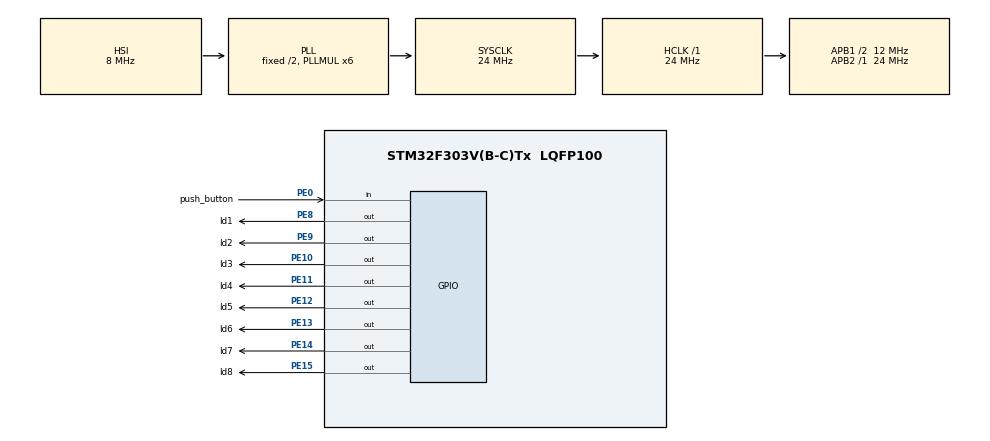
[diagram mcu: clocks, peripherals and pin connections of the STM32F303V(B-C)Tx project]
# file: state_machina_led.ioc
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Mcu.Family=STM32F3
Mcu.Name=STM32F303V(B-C)Tx
Mcu.Package=LQFP100
NVIC.PriorityGroup=NVIC_PRIORITYGROUP_0
NVIC.RCC_IRQn=true\:0\:0\:false\:false\:true\:true\:false\:true
NVIC.TIM2_IRQn=true\:0\:0\:false\:false\:true\:true\:true\:true
PA13.Mode=Serial_Wire
PA13.Signal=SYS_JTMS-SWDIO
PA14.Mode=Serial_Wire
PA14.Signal=SYS_JTCK-SWCLK
PE0.GPIO_Label=push_button
PE0.Signal=GPIO_Input
PE10.GPIO_Label=ld3
PE10.Signal=GPIO_Output
PE11.GPIO_Label=ld4
PE11.Signal=GPIO_Output
PE12.GPIO_Label=ld5
PE12.Signal=GPIO_Output
PE13.GPIO_Label=ld6
PE13.Signal=GPIO_Output
PE14.GPIO_Label=ld7
PE14.Signal=GPIO_Output
PE15.GPIO_Label=ld8
PE15.Signal=GPIO_Output
PE8.GPIO_Label=ld1
PE8.Signal=GPIO_Output
PE9.GPIO_Label=ld2
PE9.Signal=GPIO_Output
PF0-OSC_IN.Mode=HSE-External-Oscillator
PF0-OSC_IN.Signal=RCC_OSC_IN
PF1-OSC_OUT.Mode=HSE-External-Oscillator
PF1-OSC_OUT.Signal=RCC_OSC_OUT
ProjectManager.HeapSize=0x200
ProjectManager.StackSize=0x400
ProjectManager.TargetToolchain=STM32CubeIDE
RCC.AHBFreq_Value=24000000
RCC.APB1CLKDivider=RCC_HCLK_DIV2
RCC.APB1Freq_Value=12000000
RCC.APB1TimFreq_Value=24000000
RCC.APB2Freq_Value=24000000
RCC.APB2TimFreq_Value=24000000
RCC.CortexFreq_Value=24000000
RCC.HCLKFreq_Value=24000000
RCC.HSE_VALUE=8000000
RCC.HSI_VALUE=8000000
RCC.LSE_VALUE=32768
RCC.PLLMUL=RCC_PLL_MUL6
RCC.SYSCLKFreq_VALUE=24000000
RCC.SYSCLKSourceVirtual=RCC_SYSCLKSOURCE_PLLCLK
RCC.USBFreq_Value=24000000
TIM2.Period=999
TIM2.Prescaler=23999
VP_TIM2_VS_ClockSourceINT.Mode=Internal
board=STM32F3DISCOVERY

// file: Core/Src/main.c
/* USER CODE BEGIN Header */
/**
  ******************************************************************************
  * @file           : main.c
  * @brief          : Main program body
  ******************************************************************************
  * @attention
  *
  * Copyright (c) 2026 STMicroelectronics.
  * All rights reserved.
  *
  * This software is licensed under terms that can be found in the LICENSE file
  * in the root directory of this software component.
  * If no LICENSE file comes with this software, it is provided AS-IS.
  *
  ******************************************************************************
  */
/* USER CODE END Header */
#include "main.h"

TIM_HandleTypeDef htim2;

/* USER CODE BEGIN PV */
int clockcount = 0;
/* USER CODE END PV */

void SystemClock_Config(void);
static void MX_GPIO_Init(void);
static void MX_TIM2_Init(void);

/* USER CODE BEGIN 0 */
volatile animasyon = 1;
/* USER CODE END 0 */

int main(void)
{

  /* MCU Configuration--------------------------------------------------------*/

  /* Reset of all peripherals, Initializes the Flash interface and the Systick. */
  HAL_Init();

  /* Configure the system clock */
  SystemClock_Config();

  /* Initialize all configured peripherals */
  MX_GPIO_Init();
  MX_TIM2_Init();
  /* USER CODE BEGIN 2 */
  HAL_TIM_Base_Start_IT(&htim2);
  /* USER CODE END 2 */

  /* Infinite loop */
  while (1)
  {

    /* USER CODE BEGIN 3 */
	  //HAL_GPIO_WritePin(GPIOE, ld1_Pin | ld2_Pin | ld3_Pin | ld4_Pin | ld5_Pin | ld6_Pin | ld7_Pin | ld8_Pin, 1);
	   //HAL_GPIO_WritePin(GPIOE,ld8_Pin, 1);
  }

  /* USER CODE END 3 */
}

void SystemClock_Config(void)
{
  RCC_OscInitTypeDef RCC_OscInitStruct = {0};
  RCC_ClkInitTypeDef RCC_ClkInitStruct = {0};

  /** Initializes the RCC Oscillators according to the specified parameters
  * in the RCC_OscInitTypeDef structure.
  */
  RCC_OscInitStruct.OscillatorType = RCC_OSCILLATORTYPE_HSI;
  RCC_OscInitStruct.HSIState = RCC_HSI_ON;
  RCC_OscInitStruct.HSICalibrationValue = RCC_HSICALIBRATION_DEFAULT;
  RCC_OscInitStruct.PLL.PLLState = RCC_PLL_ON;
  RCC_OscInitStruct.PLL.PLLSource = RCC_PLLSOURCE_HSI;
  RCC_OscInitStruct.PLL.PLLMUL = RCC_PLL_MUL6;
  if (HAL_RCC_OscConfig(&RCC_OscInitStruct) != HAL_OK)
  {
    Error_Handler();
  }

  /** Initializes the CPU, AHB and APB buses clocks
  */
  RCC_ClkInitStruct.ClockType = RCC_CLOCKTYPE_HCLK|RCC_CLOCKTYPE_SYSCLK
                              |RCC_CLOCKTYPE_PCLK1|RCC_CLOCKTYPE_PCLK2;
  RCC_ClkInitStruct.SYSCLKSource = RCC_SYSCLKSOURCE_PLLCLK;
  RCC_ClkInitStruct.AHBCLKDivider = RCC_SYSCLK_DIV1;
  RCC_ClkInitStruct.APB1CLKDivider = RCC_HCLK_DIV2;
  RCC_ClkInitStruct.APB2CLKDivider = RCC_HCLK_DIV1;

  if (HAL_RCC_ClockConfig(&RCC_ClkInitStruct, FLASH_LATENCY_0) != HAL_OK)
  {
    Error_Handler();
  }
}

static void MX_TIM2_Init(void)
{

  TIM_ClockConfigTypeDef sClockSourceConfig = {0};
  TIM_MasterConfigTypeDef sMasterConfig = {0};

  htim2.Instance = TIM2;
  htim2.Init.Prescaler = 23999;
  htim2.Init.CounterMode = TIM_COUNTERMODE_UP;
  htim2.Init.Period = 999;
  htim2.Init.ClockDivision = TIM_CLOCKDIVISION_DIV1;
  htim2.Init.AutoReloadPreload = TIM_AUTORELOAD_PRELOAD_DISABLE;
  if (HAL_TIM_Base_Init(&htim2) != HAL_OK)
  {
    Error_Handler();
  }
  sClockSourceConfig.ClockSource = TIM_CLOCKSOURCE_INTERNAL;
  if (HAL_TIM_ConfigClockSource(&htim2, &sClockSourceConfig) != HAL_OK)
  {
    Error_Handler();
  }
  sMasterConfig.MasterOutputTrigger = TIM_TRGO_RESET;
  sMasterConfig.MasterSlaveMode = TIM_MASTERSLAVEMODE_DISABLE;
  if (HAL_TIMEx_MasterConfigSynchronization(&htim2, &sMasterConfig) != HAL_OK)
  {
    Error_Handler();
  }

}

static void MX_GPIO_Init(void)
{
  GPIO_InitTypeDef GPIO_InitStruct = {0};

  /* GPIO Ports Clock Enable */
  __HAL_RCC_GPIOF_CLK_ENABLE();
  __HAL_RCC_GPIOE_CLK_ENABLE();
  __HAL_RCC_GPIOA_CLK_ENABLE();

  /*Configure GPIO pin Output Level */
  HAL_GPIO_WritePin(GPIOE, ld1_Pin|ld2_Pin|ld3_Pin|ld4_Pin
                          |ld5_Pin|ld6_Pin|ld7_Pin|ld8_Pin, GPIO_PIN_RESET);

  /*Configure GPIO pins : ld1_Pin ld2_Pin ld3_Pin ld4_Pin
                           ld5_Pin ld6_Pin ld7_Pin ld8_Pin */
  GPIO_InitStruct.Pin = ld1_Pin|ld2_Pin|ld3_Pin|ld4_Pin
                          |ld5_Pin|ld6_Pin|ld7_Pin|ld8_Pin;
  GPIO_InitStruct.Mode = GPIO_MODE_OUTPUT_PP;
  GPIO_InitStruct.Pull = GPIO_NOPULL;
  GPIO_InitStruct.Speed = GPIO_SPEED_FREQ_LOW;
  HAL_GPIO_Init(GPIOE, &GPIO_InitStruct);

  /*Configure GPIO pin : push_button_Pin */
  GPIO_InitStruct.Pin = push_button_Pin;
  GPIO_InitStruct.Mode = GPIO_MODE_INPUT;
  GPIO_InitStruct.Pull = GPIO_NOPULL;
  HAL_GPIO_Init(push_button_GPIO_Port, &GPIO_InitStruct);

}

/* USER CODE BEGIN 4 */
void HAL_TIM_PeriodElapsedCallback(TIM_HandleTypeDef *htim)
{
    // Hangi Timer'ın süresi dolduğunu kontrol et (TIM2 mi?)
    if (htim->Instance == TIM2)
    {
        // 1 Saniye doldu!
        // Karttaki LED'lerden birinin (Örneğin PE8) durumunu tersine çevir (Toggle)
       HAL_GPIO_WritePin(GPIOE, ld1_Pin | ld2_Pin | ld3_Pin | ld4_Pin | ld5_Pin | ld6_Pin | ld7_Pin | ld8_Pin, GPIO_PIN_RESET);

        switch(animasyon){
        	case 1:
        		HAL_GPIO_WritePin(GPIOE, ld1_Pin, GPIO_PIN_SET); // Sadece 1. LED'i yak
        	    animasyon = 2;                             // Sonraki durum 2 olsun
        	    break;

        	case 2:
        		HAL_GPIO_WritePin(GPIOE, ld2_Pin, GPIO_PIN_SET);
        		animasyon = 3;
        		break;
        	case 3:
                HAL_GPIO_WritePin(GPIOE, ld3_Pin, GPIO_PIN_SET);
                 animasyon = 4;
        	     break;

           case 4:
        	      HAL_GPIO_WritePin(GPIOE, ld4_Pin, GPIO_PIN_SET);
        	      animasyon = 5;
        	      break;

           case 5:
        	   HAL_GPIO_WritePin(GPIOE, ld5_Pin, GPIO_PIN_SET);
               animasyon = 6;
        	   break;

          case 6:
        	     HAL_GPIO_WritePin(GPIOE, ld6_Pin, GPIO_PIN_SET);
                 animasyon = 7;
        	     break;

          case 7:
                 HAL_GPIO_WritePin(GPIOE, ld7_Pin, GPIO_PIN_SET);
        	     animasyon = 8;
        	     break;

         case 8:
              HAL_GPIO_WritePin(GPIOE, ld8_Pin, GPIO_PIN_SET);
              animasyon = 1; // Sona geldik! Durumu başa (1'e) sar!
              break;
        }

    }
}
/* USER CODE END 4 */

void Error_Handler(void)
{
  __disable_irq();
  while (1)
  {
  }
}
